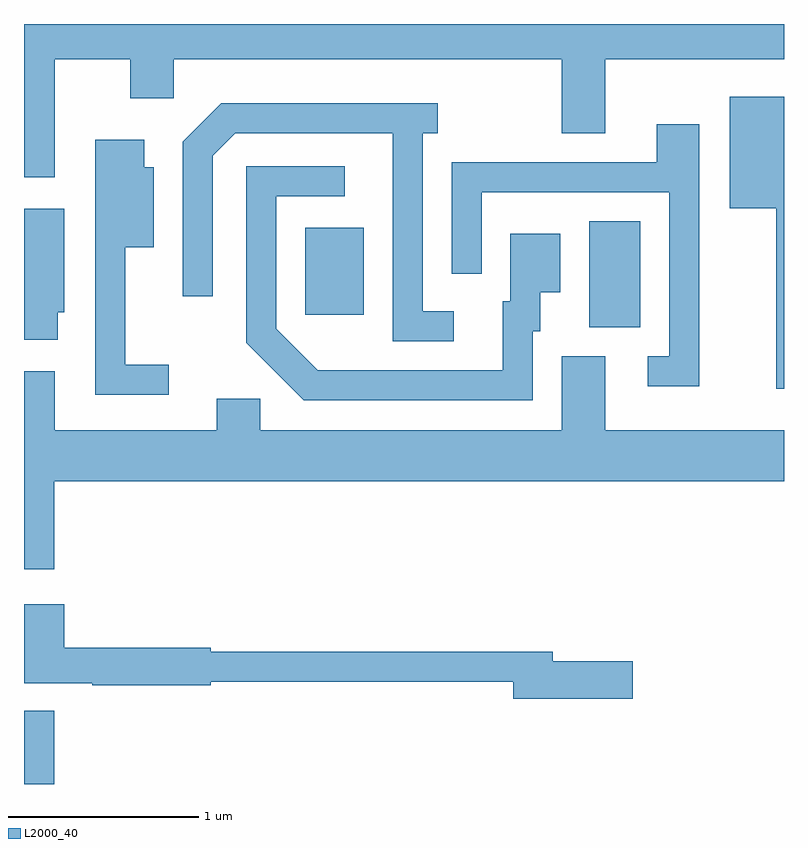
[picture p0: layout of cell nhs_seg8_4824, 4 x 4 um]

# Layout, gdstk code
import gdstk
lib = gdstk.Library(unit=1e-6, precision=1e-09)
def R(c, l, rs):  # rectangles x0, y0, x1, y1
    for r in rs: c.add(gdstk.rectangle(r[:2], r[2:], *l))
def P(c, l, *ps):  # polygons
    for p in ps: c.add(gdstk.Polygon(p, *l))
L2000_40 = (2000, 40)

nhs_seg8_4824 = lib.new_cell('nhs_seg8_4824')
R(nhs_seg8_4824, L2000_40, [(329.611,1870.342,329.769,1870.728), (332.586,1872.746,332.854,1873.304), (331.091,1872.811,331.399,1873.269)])
P(nhs_seg8_4824, L2000_40, [(329.611,1873.536),(329.774,1873.536),(329.774,1874.156),(330.171,1874.156),(330.171,1873.951),(330.399,1873.951),(330.399,1874.156),(332.441,1874.156),(332.441,1873.766),(332.669,1873.766),(332.669,1874.156),(333.611,1874.156),(333.611,1874.342),(329.611,1874.342)],
  [(333.611,1873.959),(333.326,1873.959),(333.326,1873.371),(333.571,1873.371),(333.571,1872.423),(333.611,1872.423)],
  [(331.873,1872.829),(331.709,1872.829),(331.709,1873.766),(331.788,1873.766),(331.788,1873.924),(330.649,1873.924),(330.446,1873.722),(330.446,1872.908),(330.604,1872.908),(330.604,1873.649),(330.722,1873.766),(331.551,1873.766),(331.551,1872.671),(331.873,1872.671)],
  [(333.164,1873.814),(332.941,1873.814),(332.941,1873.614),(331.861,1873.614),(331.861,1873.028),(332.019,1873.028),(332.019,1873.456),(333.006,1873.456),(333.006,1872.594),(332.893,1872.594),(332.893,1872.436),(333.164,1872.436)],
  [(330.373,1872.549),(330.144,1872.549),(330.144,1873.166),(330.294,1873.166),(330.294,1873.589),(330.244,1873.589),(330.244,1873.734),(329.986,1873.734),(329.986,1872.391),(330.373,1872.391)],
  [(332.289,1872.726),(332.329,1872.726),(332.329,1872.931),(332.434,1872.931),(332.434,1873.239),(332.171,1873.239),(332.171,1872.884),(332.131,1872.884),(332.131,1872.519),(331.157,1872.519),(330.939,1872.737),(330.939,1873.436),(331.298,1873.436),(331.298,1873.594),(330.781,1873.594),(330.781,1872.664),(331.084,1872.361),(332.289,1872.361)],
  [(329.789,1872.826),(329.824,1872.826),(329.824,1873.369),(329.611,1873.369),(329.611,1872.681),(329.789,1872.681)],
  [(329.769,1871.936),(333.611,1871.936),(333.611,1872.204),(332.669,1872.204),(332.669,1872.594),(332.441,1872.594),(332.441,1872.204),(330.854,1872.204),(330.854,1872.369),(330.626,1872.369),(330.626,1872.204),(329.774,1872.204),(329.774,1872.514),(329.611,1872.514),(329.611,1871.473),(329.769,1871.473)],
  [(332.814,1870.989),(332.394,1870.989),(332.394,1871.039),(330.594,1871.039),(330.594,1871.059),(329.824,1871.059),(329.824,1871.289),(329.611,1871.289),(329.611,1870.871),(329.97,1870.871),(329.97,1870.861),(330.594,1870.861),(330.594,1870.881),(332.186,1870.881),(332.186,1870.791),(332.814,1870.791)])

lib.write_gds('nhs_seg8_4824.gds')
